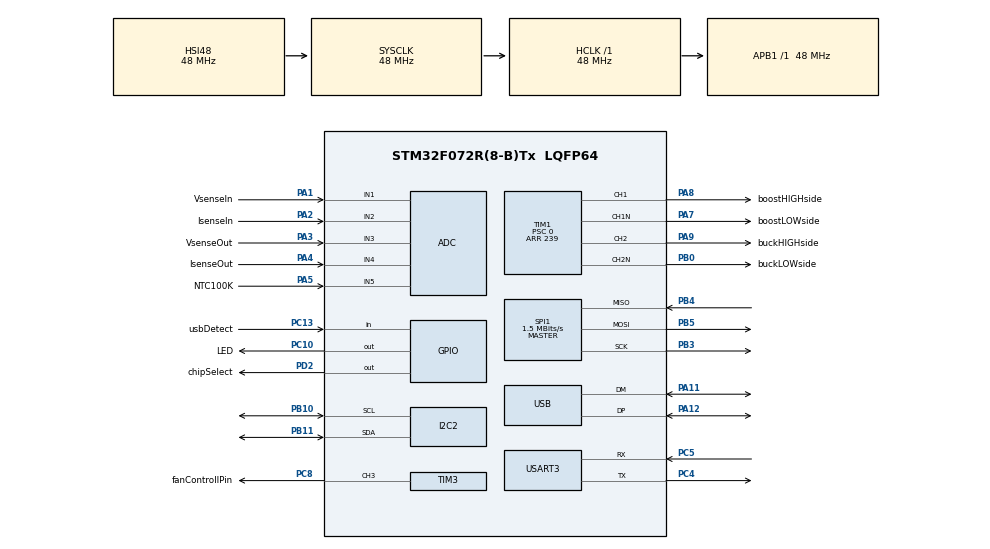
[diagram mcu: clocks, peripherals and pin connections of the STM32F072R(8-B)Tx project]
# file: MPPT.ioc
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ADC.ClockPrescaler=ADC_CLOCK_SYNC_PCLK_DIV4
ADC.ContinuousConvMode=ENABLE
ADC.DMAContinuousRequests=ENABLE
ADC.EOCSelection=ADC_EOC_SINGLE_CONV
ADC.Overrun=ADC_OVR_DATA_OVERWRITTEN
ADC.SamplingTime=ADC_SAMPLETIME_7CYCLES_5
Dma.ADC.2.Direction=DMA_PERIPH_TO_MEMORY
Dma.ADC.2.Instance=DMA1_Channel1
Dma.ADC.2.MemDataAlignment=DMA_MDATAALIGN_HALFWORD
Dma.ADC.2.MemInc=DMA_MINC_ENABLE
Dma.ADC.2.Mode=DMA_CIRCULAR
Dma.ADC.2.PeriphDataAlignment=DMA_PDATAALIGN_HALFWORD
Dma.ADC.2.PeriphInc=DMA_PINC_DISABLE
Dma.ADC.2.Priority=DMA_PRIORITY_LOW
Dma.Request0=TIM1_CH1
Dma.Request1=TIM1_CH2
Dma.Request2=ADC
Dma.TIM1_CH1.0.Direction=DMA_MEMORY_TO_PERIPH
Dma.TIM1_CH1.0.Instance=DMA1_Channel2
Dma.TIM1_CH1.0.MemDataAlignment=DMA_MDATAALIGN_HALFWORD
Dma.TIM1_CH1.0.MemInc=DMA_MINC_ENABLE
Dma.TIM1_CH1.0.Mode=DMA_CIRCULAR
Dma.TIM1_CH1.0.PeriphDataAlignment=DMA_PDATAALIGN_HALFWORD
Dma.TIM1_CH1.0.PeriphInc=DMA_PINC_DISABLE
Dma.TIM1_CH1.0.Priority=DMA_PRIORITY_LOW
Dma.TIM1_CH2.1.Direction=DMA_MEMORY_TO_PERIPH
Dma.TIM1_CH2.1.Instance=DMA1_Channel3
Dma.TIM1_CH2.1.MemDataAlignment=DMA_MDATAALIGN_HALFWORD
Dma.TIM1_CH2.1.MemInc=DMA_MINC_ENABLE
Dma.TIM1_CH2.1.Mode=DMA_CIRCULAR
Dma.TIM1_CH2.1.PeriphDataAlignment=DMA_PDATAALIGN_HALFWORD
Dma.TIM1_CH2.1.PeriphInc=DMA_PINC_DISABLE
Dma.TIM1_CH2.1.Priority=DMA_PRIORITY_LOW
I2C2.Timing=0x20303E5D
Mcu.Family=STM32F0
Mcu.Name=STM32F072R(8-B)Tx
Mcu.Package=LQFP64
NVIC.DMA1_Channel1_IRQn=true\:0\:0\:false\:false\:true\:false\:true\:true
NVIC.DMA1_Channel2_3_IRQn=true\:0\:0\:false\:false\:true\:false\:true\:true
NVIC.USB_IRQn=true\:0\:0\:false\:false\:true\:false\:true\:true
PA1.GPIO_Label=VsenseIn
PA1.Mode=IN1
PA1.Signal=ADC_IN1
PA11.Mode=Device
PA11.Signal=USB_DM
PA12.Mode=Device
PA12.Signal=USB_DP
PA13.Mode=Serial_Wire
PA13.Signal=SYS_SWDIO
PA14.Mode=Serial_Wire
PA14.Signal=SYS_SWCLK
PA2.GPIO_Label=IsenseIn
PA2.Mode=IN2
PA2.Signal=ADC_IN2
PA3.GPIO_Label=VsenseOut
PA3.Mode=IN3
PA3.Signal=ADC_IN3
PA4.GPIO_Label=IsenseOut
PA4.Mode=IN4
PA4.Signal=ADC_IN4
PA5.GPIO_Label=NTC100K
PA5.Mode=IN5
PA5.Signal=ADC_IN5
PA7.GPIO_Label=boostLOWside
PA7.Mode=PWM Generation1 CH1 CH1N
PA7.Signal=TIM1_CH1N
PA8.GPIO_Label=boostHIGHside
PA8.Signal=S_TIM1_CH1
PA9.GPIO_Label=buckHIGHside
PA9.Signal=S_TIM1_CH2
PB0.GPIO_Label=buckLOWside
PB0.Mode=PWM Generation2 CH2 CH2N
PB0.Signal=TIM1_CH2N
PB10.Mode=I2C
PB10.Signal=I2C2_SCL
PB11.Mode=I2C
PB11.Signal=I2C2_SDA
PB3.Mode=Full_Duplex_Master
PB3.Signal=SPI1_SCK
PB4.Mode=Full_Duplex_Master
PB4.Signal=SPI1_MISO
PB5.Mode=Full_Duplex_Master
PB5.Signal=SPI1_MOSI
PC10.GPIO_Label=LED
PC10.Signal=GPIO_Output
PC13.GPIO_Label=usbDetect
PC13.Signal=GPIO_Input
PC4.Mode=Asynchronous
PC4.Signal=USART3_TX
PC5.Mode=Asynchronous
PC5.Signal=USART3_RX
PC8.GPIO_Label=fanControllPin
PC8.Signal=S_TIM3_CH3
PD2.GPIO_Label=chipSelect
PD2.Signal=GPIO_Output
ProjectManager.HeapSize=0x200
ProjectManager.StackSize=0x400
ProjectManager.TargetToolchain=STM32CubeIDE
RCC.AHBFreq_Value=48000000
RCC.APB1Freq_Value=48000000
RCC.APB1TimFreq_Value=48000000
RCC.HCLKFreq_Value=48000000
RCC.SYSCLKFreq_VALUE=48000000
RCC.SYSCLKSource=RCC_SYSCLKSOURCE_HSI48
SH.S_TIM1_CH1.0=TIM1_CH1,PWM Generation1 CH1 CH1N
SH.S_TIM1_CH2.0=TIM1_CH2,PWM Generation2 CH2 CH2N
SH.S_TIM3_CH3.0=TIM3_CH3,PWM Generation3 CH3
SPI1.BaudRatePrescaler=SPI_BAUDRATEPRESCALER_32
SPI1.CalculateBaudRate=1.5 MBits/s
SPI1.Direction=SPI_DIRECTION_2LINES
SPI1.Mode=SPI_MODE_MASTER
SPI1.VirtualType=VM_MASTER
TIM1.AutoReloadPreload=TIM_AUTORELOAD_PRELOAD_DISABLE
TIM1.Channel-PWM\ Generation1\ CH1\ CH1N=TIM_CHANNEL_1
TIM1.Channel-PWM\ Generation2\ CH2\ CH2N=TIM_CHANNEL_2
TIM1.ClockDivision=TIM_CLOCKDIVISION_DIV1
TIM1.DeadTime=16
TIM1.OCMode_PWM-PWM\ Generation1\ CH1\ CH1N=TIM_OCMODE_PWM1
TIM1.OCNPolarity_1=TIM_OCNPOLARITY_HIGH
TIM1.Period=239
TIM1.Prescaler=0
TIM3.Channel-PWM\ Generation3\ CH3=TIM_CHANNEL_3
TIM6.Period=65535
TIM6.Prescaler=47
USART3.VirtualMode-Asynchronous=VM_ASYNC
USB_DEVICE.CLASS_NAME_FS=CDC
USB_DEVICE.PRODUCT_STRING_CDC_FS=OpenMPPT
USB_DEVICE.USBD_DEBUG_LEVEL=3
USB_DEVICE.VirtualMode=Cdc
USB_DEVICE.VirtualModeFS=Cdc_FS
VP_ADC_TempSens_Input.Mode=IN-TempSens
VP_TIM1_VS_ClockSourceINT.Mode=Internal
VP_TIM2_VS_ClockSourceINT.Mode=Internal
VP_TIM6_VS_ClockSourceINT.Mode=Enable_Timer
VP_USB_DEVICE_VS_USB_DEVICE_CDC_FS.Mode=CDC_FS
board=custom

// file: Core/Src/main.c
/* USER CODE BEGIN Header */
/**
 ******************************************************************************
 * @file           : main.c
 * @brief          : Main program body (High-level Orchestrator)
 ******************************************************************************
 */
/* USER CODE END Header */
#include "main.h"
#include "adc.h"
#include "dma.h"
#include "i2c.h"
#include "spi.h"
#include "tim.h"
#include "usart.h"
#include "usb_device.h"
#include "gpio.h"

/* USER CODE BEGIN Includes */
#include "sensors.h"
#include "power.h"
#include "controller.h"
#include "comms.h"
#include "settings.h"
#include "system_config.h"
#include "usbd_cdc_if.h"
#include "lcd_pcd8544.h"
/* USER CODE END Includes */

IWDG_HandleTypeDef hiwdg;

/* USER CODE BEGIN PV */
LCD_Handle_t hlcd;
static uint32_t lastLCDTick = 0;
/* USER CODE END PV */

void SystemClock_Config(void);
static void MX_IWDG_Init(void);

int main(void)
{
  /* MCU Configuration--------------------------------------------------------*/

  /* Reset of all peripherals, Initializes the Flash interface and the Systick. */
  HAL_Init();

  /* Configure the system clock */
  SystemClock_Config();

  /* Initialize all configured peripherals */
  MX_GPIO_Init();
  MX_DMA_Init();
  MX_I2C2_Init();
  MX_TIM1_Init();
  MX_USART3_UART_Init();
  MX_USB_DEVICE_Init();
  MX_SPI1_Init();
  MX_TIM2_Init();
  MX_ADC_Init();
  MX_TIM3_Init();
  MX_TIM6_Init();
  MX_IWDG_Init();

  /* USER CODE BEGIN 2 */
  SETTINGS_Init();
  SENSORS_Init();
  POWER_Init();
  CONTROLLER_Init();
  COMMS_Init();

  /* LCD Initialization */
  hlcd.hspi = &hspi1;
  hlcd.port_ce = LCD_CE_GPIO_Port;
  hlcd.pin_ce = LCD_CE_Pin;
  hlcd.port_dc = LCD_DC_GPIO_Port;
  hlcd.pin_dc = LCD_DC_Pin;
  hlcd.port_rst = LCD_RST_GPIO_Port;
  hlcd.pin_rst = LCD_RST_Pin;
  LCD_Init(&hlcd);
  LCD_DrawString(&hlcd, 0, 0, "openMPPT v1.2");
  LCD_Update(&hlcd);
  /* USER CODE END 2 */

  /* Infinite loop */
  /* USER CODE BEGIN WHILE */
  while (1)
  {
    HAL_IWDG_Refresh(&hiwdg);
    COMMS_HandleCommands();

    uint8_t readyStatus = SENSORS_IsBufferReady();
    if (readyStatus)
    {
      uint16_t offset = (readyStatus == 2) ? (ADC_BUF_LEN / 2) : 0;
      SENSORS_ClearBufferReady();

      SENSORS_Process(offset);
      CONTROLLER_UpdateHighRate();
    }

    CONTROLLER_Task();

    /* UI Refresh Task (10Hz) */
    uint32_t currentTick = HAL_GetTick();
    if (currentTick - lastLCDTick >= 100) {
      lastLCDTick = currentTick;
      const Measurements_t *m = SENSORS_GetMeasurements();
      char line[20];

      LCD_Clear(&hlcd);

      sprintf(line, "Vin:  %3ld.%01ldV", m->voltageIn_mV / 1000, (uint32_t)abs(m->voltageIn_mV % 1000) / 100);
      LCD_DrawString(&hlcd, 0, 0, line);

      sprintf(line, "Vout: %3ld.%01ldV", m->voltageOut_mV / 1000, (uint32_t)abs(m->voltageOut_mV % 1000) / 100);
      LCD_DrawString(&hlcd, 0, 8, line);

      sprintf(line, "Pout: %3ld.%01ldW", m->powerOut_mW / 1000, (uint32_t)abs(m->powerOut_mW % 1000) / 100);
      LCD_DrawString(&hlcd, 0, 16, line);

      sprintf(line, "Mode: %s     ", CONTROLLER_GetStateString()); // Added spaces to clear previous text
      LCD_DrawString(&hlcd, 0, 32, line);

      LCD_Update(&hlcd);
    }
    /* USER CODE END WHILE */

  }
}

static void MX_IWDG_Init(void)
{
  /* IWDG clock is LSI (approx 40kHz) */
  /* Timeout = (Prescaler * Reload) / LSI */
  /* Timeout = (64 * 625) / 40000 = 1.0 seconds */
  hiwdg.Instance = IWDG;
  hiwdg.Init.Prescaler = IWDG_PRESCALER_64;
  hiwdg.Init.Window = IWDG_WINDOW_DISABLE;
  hiwdg.Init.Reload = 625;
  if (HAL_IWDG_Init(&hiwdg) != HAL_OK)
  {
    Error_Handler();
  }
}

void SystemClock_Config(void)
{
  RCC_OscInitTypeDef RCC_OscInitStruct = {0};
  RCC_ClkInitTypeDef RCC_ClkInitStruct = {0};
  RCC_PeriphCLKInitTypeDef PeriphClkInit = {0};

  RCC_OscInitStruct.OscillatorType = RCC_OSCILLATORTYPE_HSI48;
  RCC_OscInitStruct.HSI48State = RCC_HSI48_ON;
  RCC_OscInitStruct.PLL.PLLState = RCC_PLL_NONE;
  if (HAL_RCC_OscConfig(&RCC_OscInitStruct) != HAL_OK)
  {
    Error_Handler();
  }

  RCC_ClkInitStruct.ClockType = RCC_CLOCKTYPE_HCLK | RCC_CLOCKTYPE_SYSCLK | RCC_CLOCKTYPE_PCLK1;
  RCC_ClkInitStruct.SYSCLKSource = RCC_SYSCLKSOURCE_HSI48;
  RCC_ClkInitStruct.AHBCLKDivider = RCC_SYSCLK_DIV1;
  RCC_ClkInitStruct.APB1CLKDivider = RCC_HCLK_DIV1;

  if (HAL_RCC_ClockConfig(&RCC_ClkInitStruct, FLASH_LATENCY_1) != HAL_OK)
  {
    Error_Handler();
  }
  PeriphClkInit.PeriphClockSelection = RCC_PERIPHCLK_USB;
  PeriphClkInit.UsbClockSelection = RCC_USBCLKSOURCE_HSI48;

  if (HAL_RCCEx_PeriphCLKConfig(&PeriphClkInit) != HAL_OK)
  {
    Error_Handler();
  }
}

/* USER CODE BEGIN 4 */
// needed for printf
int _write(int file, char *ptr, int len)
{
  static uint8_t rc = USBD_OK;
  uint32_t timeout = 0;

  do
  {
    rc = CDC_Transmit_FS((uint8_t *)ptr, len);
    if (++timeout > 10000) break; // Timeout to prevent blocking without host
  } while (USBD_BUSY == rc);

  if (USBD_FAIL == rc)
  {
    return 0;
  }
  return len;
}
/* USER CODE END 4 */

void Error_Handler(void)
{
  __disable_irq();
  while (1)
  {
  }
}
